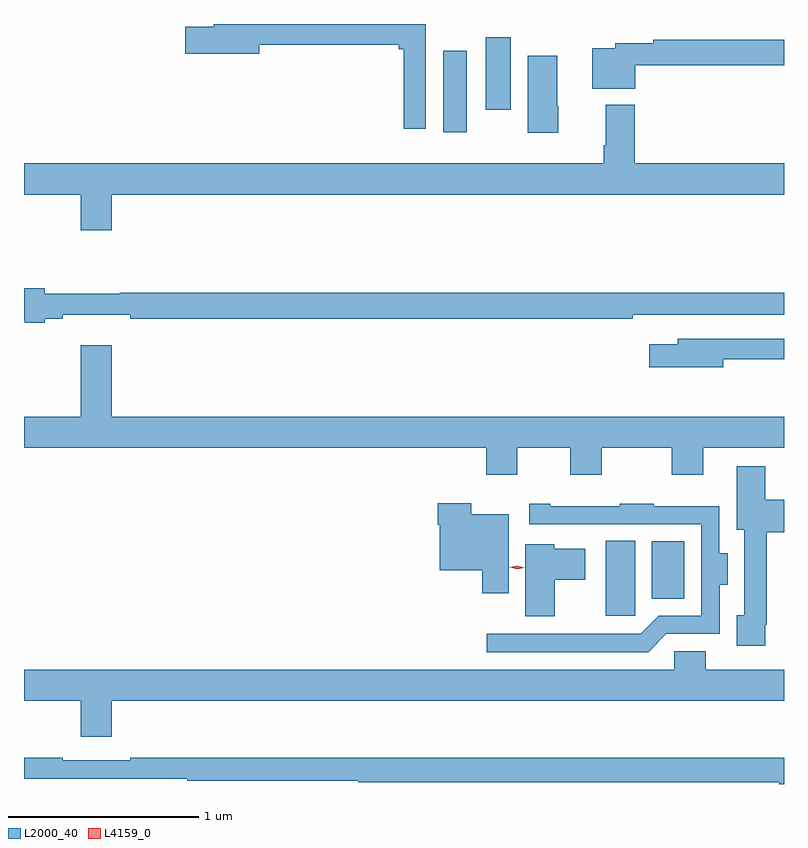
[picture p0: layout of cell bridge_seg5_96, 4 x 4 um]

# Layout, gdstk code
import gdstk
lib = gdstk.Library(unit=1e-6, precision=1e-09)
def R(c, l, rs):  # rectangles x0, y0, x1, y1
    for r in rs: c.add(gdstk.rectangle(r[:2], r[2:], *l))
def P(c, l, *ps):  # polygons
    for p in ps: c.add(gdstk.Polygon(p, *l))
L2000_40 = (2000, 40)
L4159_0 = (4159, 0)

bridge_seg5_96 = lib.new_cell('bridge_seg5_96')
R(bridge_seg5_96, L2000_40, [(527.411,878.52,527.566,878.915), (527.654,878.609,527.824,878.911), (526.556,881.064,526.678,881.494), (526.778,881.184,526.912,881.564)])
P(bridge_seg5_96, L2000_40, [(526.464,881.634),(525.347,881.634),(525.347,881.619),(525.198,881.619),(525.198,881.477),(525.586,881.477),(525.586,881.524),(526.322,881.524),(526.322,881.501),(526.348,881.501),(526.348,881.082),(526.464,881.082)],
  [(527.566,881.416),(528.349,881.416),(528.349,881.552),(527.662,881.552),(527.662,881.532),(527.46,881.532),(527.46,881.506),(527.339,881.506),(527.339,881.294),(527.566,881.294)],
  [(527.161,881.205),(527.155,881.205),(527.155,881.467),(527,881.467),(527,881.061),(527.161,881.061)],
  [(524.812,880.736),(528.349,880.736),(528.349,880.9),(527.564,880.9),(527.564,881.209),(527.411,881.209),(527.411,880.996),(527.399,880.996),(527.399,880.9),(524.349,880.9),(524.349,880.736),(524.648,880.736),(524.648,880.548),(524.812,880.548)],
  [(524.458,880.084),(524.554,880.084),(524.554,880.103),(524.908,880.103),(524.908,880.084),(527.552,880.084),(527.552,880.104),(528.349,880.104),(528.349,880.22),(524.854,880.22),(524.854,880.213),(524.458,880.213),(524.458,880.244),(524.349,880.244),(524.349,880.073),(524.354,880.073),(524.354,880.061),(524.458,880.061)],
  [(528.028,879.87),(528.349,879.87),(528.349,879.978),(527.789,879.978),(527.789,879.949),(527.64,879.949),(527.64,879.827),(528.028,879.827)],
  [(526.945,879.404),(527.225,879.404),(527.225,879.261),(527.389,879.261),(527.389,879.404),(527.759,879.404),(527.759,879.261),(527.923,879.261),(527.923,879.404),(528.349,879.404),(528.349,879.568),(524.812,879.568),(524.812,879.943),(524.648,879.943),(524.648,879.568),(524.349,879.568),(524.349,879.404),(526.781,879.404),(526.781,879.261),(526.945,879.261)],
  [(528.25,878.473),(528.257,878.473),(528.257,878.96),(528.349,878.96),(528.349,879.13),(528.251,879.13),(528.251,879.307),(528.101,879.307),(528.101,878.972),(528.141,878.972),(528.141,878.521),(528.101,878.521),(528.101,878.361),(528.25,878.361)],
  [(526.9,879.055),(526.704,879.055),(526.704,879.112),(526.526,879.112),(526.526,878.999),(526.538,878.999),(526.538,878.759),(526.76,878.759),(526.76,878.637),(526.9,878.637)],
  [(527.73,878.424),(528.01,878.424),(528.01,878.684),(528.052,878.684),(528.052,878.848),(528.009,878.848),(528.009,879.097),(527.663,879.097),(527.663,879.109),(527.485,879.109),(527.485,879.097),(527.119,879.097),(527.119,879.109),(527.007,879.109),(527.007,879),(527.913,879),(527.913,878.52),(527.691,878.52),(527.595,878.424),(526.785,878.424),(526.785,878.328),(527.634,878.328)],
  [(527.143,878.708),(527.302,878.708),(527.302,878.872),(527.139,878.872),(527.139,878.896),(526.988,878.896),(526.988,878.516),(527.143,878.516)],
  [(524.812,878.072),(528.349,878.072),(528.349,878.236),(527.936,878.236),(527.936,878.334),(527.772,878.334),(527.772,878.236),(524.349,878.236),(524.349,878.072),(524.648,878.072),(524.648,877.884),(524.812,877.884)],
  [(528.349,877.771),(524.908,877.771),(524.908,877.758),(524.552,877.758),(524.552,877.771),(524.349,877.771),(524.349,877.662),(525.208,877.662),(525.208,877.65),(526.108,877.65),(526.108,877.642),(528.325,877.642),(528.325,877.634),(528.349,877.634)])
P(bridge_seg5_96, L4159_0, [(526.944,878.764),(526.906,878.774),(526.905,878.775),(526.906,878.775),(526.945,878.784),(526.983,878.773),(526.983,878.773),(526.983,878.773)])

lib.write_gds('bridge_seg5_96.gds')
